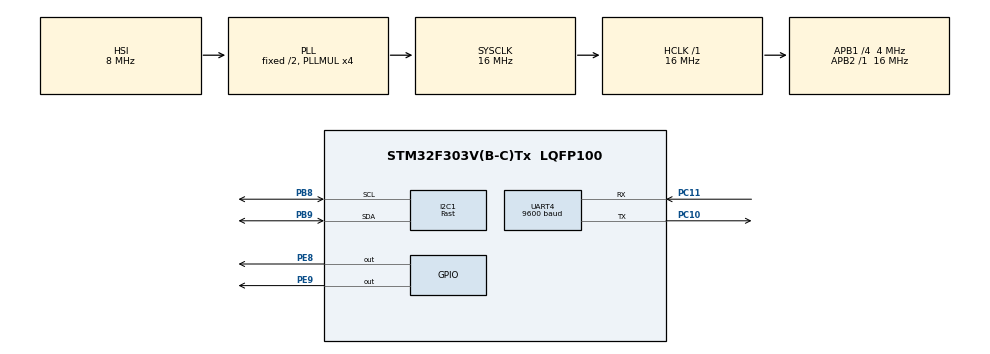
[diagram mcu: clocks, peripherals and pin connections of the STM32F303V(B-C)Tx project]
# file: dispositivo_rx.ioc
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I2C1.I2C_Speed_Mode=I2C_Fast
I2C1.Timing=0x0000020B
Mcu.Family=STM32F3
Mcu.Name=STM32F303V(B-C)Tx
Mcu.Package=LQFP100
NVIC.PriorityGroup=NVIC_PRIORITYGROUP_4
NVIC.UART4_IRQn=true\:0\:0\:false\:false\:true\:true\:true\:true
PB8.GPIO_Pu=GPIO_PULLUP
PB8.Mode=I2C
PB8.Signal=I2C1_SCL
PB9.GPIO_Pu=GPIO_PULLUP
PB9.Mode=I2C
PB9.Signal=I2C1_SDA
PC10.Mode=Asynchronous
PC10.Signal=UART4_TX
PC11.GPIO_PuPd=GPIO_PULLUP
PC11.Mode=Asynchronous
PC11.Signal=UART4_RX
PD2.Signal=UART5_RX
PE8.Signal=GPIO_Output
PE9.Signal=GPIO_Output
ProjectManager.HeapSize=0x200
ProjectManager.StackSize=0x400
ProjectManager.TargetToolchain=STM32CubeIDE
RCC.AHBFreq_Value=16000000
RCC.APB1CLKDivider=RCC_HCLK_DIV4
RCC.APB1Freq_Value=4000000
RCC.APB1TimFreq_Value=8000000
RCC.APB2Freq_Value=16000000
RCC.APB2TimFreq_Value=16000000
RCC.CortexFreq_Value=16000000
RCC.HCLKFreq_Value=16000000
RCC.HSE_VALUE=8000000
RCC.HSI_VALUE=8000000
RCC.LSE_VALUE=32768
RCC.PLLMUL=RCC_PLL_MUL4
RCC.SYSCLKFreq_VALUE=16000000
RCC.SYSCLKSourceVirtual=RCC_SYSCLKSOURCE_PLLCLK
RCC.USBFreq_Value=16000000
UART4.BaudRate=9600
UART4.Mode=MODE_TX_RX
board=custom

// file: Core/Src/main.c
/* USER CODE BEGIN Header */
/**
  ******************************************************************************
  * @file           : main.c
  * @brief          : Main program body
  ******************************************************************************
  * @attention
  *
  * Copyright (c) 2023 STMicroelectronics.
  * All rights reserved.
  *
  * This software is licensed under terms that can be found in the LICENSE file
  * in the root directory of this software component.
  * If no LICENSE file comes with this software, it is provided AS-IS.
  *
  ******************************************************************************
  */
/* USER CODE END Header */
#include "main.h"

/* USER CODE BEGIN Includes */
#include "ssd1306.h"
#include <math.h>
/* USER CODE END Includes */

/* USER CODE BEGIN PTD */
#define DATA_SIZE 2
#define MAX_UINT_16 65535
#define THRESHOLD 50
/* USER CODE END PTD */

I2C_HandleTypeDef hi2c1;

UART_HandleTypeDef huart4;

/* USER CODE BEGIN PV */
uint16_t recvbuff[DATA_SIZE];
uint16_t sendbuff[DATA_SIZE];
int distance = 0;
int rotation = 0;
/* USER CODE END PV */

void SystemClock_Config(void);
static void MX_GPIO_Init(void);
static void MX_I2C1_Init(void);
static void MX_UART4_Init(void);

/* USER CODE BEGIN 0 */
typedef struct {
	int x;
	int y;
} coords;

long map(long x, long in_min, long in_max, long out_min, long out_max) {
  return (x - in_min) * (out_max - out_min) / (in_max - in_min) + out_min;
}

coords convertRotationToCoords(int rotation) {
	coords c;

	double degree = map(rotation, 25, 125, 0, 180) * 3.14159/180;

	c.x = 63 + 64 * cos(degree);
	c.y = 63 - 63 * sin(degree);

	return c;
}

coords convertDistanceToCoords(int distance, int rotation) {
	coords c;

	double degree = map(rotation, 25, 125, 0, 180) * 3.14159/180;
	int d = map(distance, 0, THRESHOLD, 0, 64);

	c.x = 63 + d * cos(degree);
	c.y = 63 - d * sin(degree);

	return c;
}
void HAL_UART_ErrorCallback(UART_HandleTypeDef *huart) {
	HAL_GPIO_WritePin(GPIOE, GPIO_PIN_9, GPIO_PIN_SET);
}

void HAL_UART_RxCpltCallback(UART_HandleTypeDef *huart) {
	HAL_GPIO_WritePin(GPIOE, GPIO_PIN_8, GPIO_PIN_SET);

	distance = recvbuff[0];
	rotation = recvbuff[1];

	HAL_UART_Receive_IT(&huart4, (uint8_t *) recvbuff, sizeof(uint16_t) * DATA_SIZE);
}
/* USER CODE END 0 */

int main(void)
{

  /* MCU Configuration--------------------------------------------------------*/

  /* Reset of all peripherals, Initializes the Flash interface and the Systick. */
  HAL_Init();

  /* Configure the system clock */
  SystemClock_Config();

  /* Initialize all configured peripherals */
  MX_GPIO_Init();
  MX_I2C1_Init();
  MX_UART4_Init();
  /* USER CODE BEGIN 2 */
  SSD1306_Init();
  HAL_UART_Receive_IT(&huart4, (uint8_t *) recvbuff, sizeof(uint16_t) * DATA_SIZE);
  /* USER CODE END 2 */

  /* Infinite loop */
  /* USER CODE BEGIN WHILE */
  // sendbuff[0] = 1;
  // sendbuff[1] = 2;
  while (1)
  {
    /* USER CODE END WHILE */

    /* USER CODE BEGIN 3 */
		SSD1306_Clear();

		coords c1 = convertRotationToCoords(rotation);
		SSD1306_DrawLine(63, 63, c1.x, c1.y, SSD1306_COLOR_WHITE);

		if(distance <= THRESHOLD) {
			coords c2 = convertDistanceToCoords(distance, rotation);
			SSD1306_DrawFilledCircle(c2.x, c2.y, 2, SSD1306_COLOR_WHITE);
		}

		SSD1306_UpdateScreen();
  }
  /* USER CODE END 3 */
}

void SystemClock_Config(void)
{
  RCC_OscInitTypeDef RCC_OscInitStruct = {0};
  RCC_ClkInitTypeDef RCC_ClkInitStruct = {0};
  RCC_PeriphCLKInitTypeDef PeriphClkInit = {0};

  /** Initializes the RCC Oscillators according to the specified parameters
  * in the RCC_OscInitTypeDef structure.
  */
  RCC_OscInitStruct.OscillatorType = RCC_OSCILLATORTYPE_HSI;
  RCC_OscInitStruct.HSIState = RCC_HSI_ON;
  RCC_OscInitStruct.HSICalibrationValue = RCC_HSICALIBRATION_DEFAULT;
  RCC_OscInitStruct.PLL.PLLState = RCC_PLL_ON;
  RCC_OscInitStruct.PLL.PLLSource = RCC_PLLSOURCE_HSI;
  RCC_OscInitStruct.PLL.PLLMUL = RCC_PLL_MUL4;
  if (HAL_RCC_OscConfig(&RCC_OscInitStruct) != HAL_OK)
  {
    Error_Handler();
  }

  /** Initializes the CPU, AHB and APB buses clocks
  */
  RCC_ClkInitStruct.ClockType = RCC_CLOCKTYPE_HCLK|RCC_CLOCKTYPE_SYSCLK
                              |RCC_CLOCKTYPE_PCLK1|RCC_CLOCKTYPE_PCLK2;
  RCC_ClkInitStruct.SYSCLKSource = RCC_SYSCLKSOURCE_PLLCLK;
  RCC_ClkInitStruct.AHBCLKDivider = RCC_SYSCLK_DIV1;
  RCC_ClkInitStruct.APB1CLKDivider = RCC_HCLK_DIV4;
  RCC_ClkInitStruct.APB2CLKDivider = RCC_HCLK_DIV1;

  if (HAL_RCC_ClockConfig(&RCC_ClkInitStruct, FLASH_LATENCY_0) != HAL_OK)
  {
    Error_Handler();
  }
  PeriphClkInit.PeriphClockSelection = RCC_PERIPHCLK_UART4|RCC_PERIPHCLK_I2C1;
  PeriphClkInit.Uart4ClockSelection = RCC_UART4CLKSOURCE_PCLK1;
  PeriphClkInit.I2c1ClockSelection = RCC_I2C1CLKSOURCE_HSI;
  if (HAL_RCCEx_PeriphCLKConfig(&PeriphClkInit) != HAL_OK)
  {
    Error_Handler();
  }
}

static void MX_I2C1_Init(void)
{

  hi2c1.Instance = I2C1;
  hi2c1.Init.Timing = 0x0000020B;
  hi2c1.Init.OwnAddress1 = 0;
  hi2c1.Init.AddressingMode = I2C_ADDRESSINGMODE_7BIT;
  hi2c1.Init.DualAddressMode = I2C_DUALADDRESS_DISABLE;
  hi2c1.Init.OwnAddress2 = 0;
  hi2c1.Init.OwnAddress2Masks = I2C_OA2_NOMASK;
  hi2c1.Init.GeneralCallMode = I2C_GENERALCALL_DISABLE;
  hi2c1.Init.NoStretchMode = I2C_NOSTRETCH_DISABLE;
  if (HAL_I2C_Init(&hi2c1) != HAL_OK)
  {
    Error_Handler();
  }

  /** Configure Analogue filter
  */
  if (HAL_I2CEx_ConfigAnalogFilter(&hi2c1, I2C_ANALOGFILTER_ENABLE) != HAL_OK)
  {
    Error_Handler();
  }

  /** Configure Digital filter
  */
  if (HAL_I2CEx_ConfigDigitalFilter(&hi2c1, 0) != HAL_OK)
  {
    Error_Handler();
  }

}

static void MX_UART4_Init(void)
{

  huart4.Instance = UART4;
  huart4.Init.BaudRate = 9600;
  huart4.Init.WordLength = UART_WORDLENGTH_8B;
  huart4.Init.StopBits = UART_STOPBITS_1;
  huart4.Init.Parity = UART_PARITY_NONE;
  huart4.Init.Mode = UART_MODE_TX_RX;
  huart4.Init.HwFlowCtl = UART_HWCONTROL_NONE;
  huart4.Init.OverSampling = UART_OVERSAMPLING_16;
  huart4.Init.OneBitSampling = UART_ONE_BIT_SAMPLE_DISABLE;
  huart4.AdvancedInit.AdvFeatureInit = UART_ADVFEATURE_NO_INIT;
  if (HAL_UART_Init(&huart4) != HAL_OK)
  {
    Error_Handler();
  }

}

static void MX_GPIO_Init(void)
{
  GPIO_InitTypeDef GPIO_InitStruct = {0};

  /* GPIO Ports Clock Enable */
  __HAL_RCC_GPIOE_CLK_ENABLE();
  __HAL_RCC_GPIOC_CLK_ENABLE();
  __HAL_RCC_GPIOD_CLK_ENABLE();
  __HAL_RCC_GPIOB_CLK_ENABLE();

  /*Configure GPIO pin Output Level */
  HAL_GPIO_WritePin(GPIOE, GPIO_PIN_8|GPIO_PIN_9, GPIO_PIN_RESET);

  /*Configure GPIO pins : PE8 PE9 */
  GPIO_InitStruct.Pin = GPIO_PIN_8|GPIO_PIN_9;
  GPIO_InitStruct.Mode = GPIO_MODE_OUTPUT_PP;
  GPIO_InitStruct.Pull = GPIO_NOPULL;
  GPIO_InitStruct.Speed = GPIO_SPEED_FREQ_LOW;
  HAL_GPIO_Init(GPIOE, &GPIO_InitStruct);

  /*Configure GPIO pin : PD2 */
  GPIO_InitStruct.Pin = GPIO_PIN_2;
  GPIO_InitStruct.Mode = GPIO_MODE_AF_PP;
  GPIO_InitStruct.Pull = GPIO_NOPULL;
  GPIO_InitStruct.Speed = GPIO_SPEED_FREQ_HIGH;
  GPIO_InitStruct.Alternate = GPIO_AF5_UART5;
  HAL_GPIO_Init(GPIOD, &GPIO_InitStruct);

}

void Error_Handler(void)
{
  __disable_irq();
  while (1)
  {
  }
}
